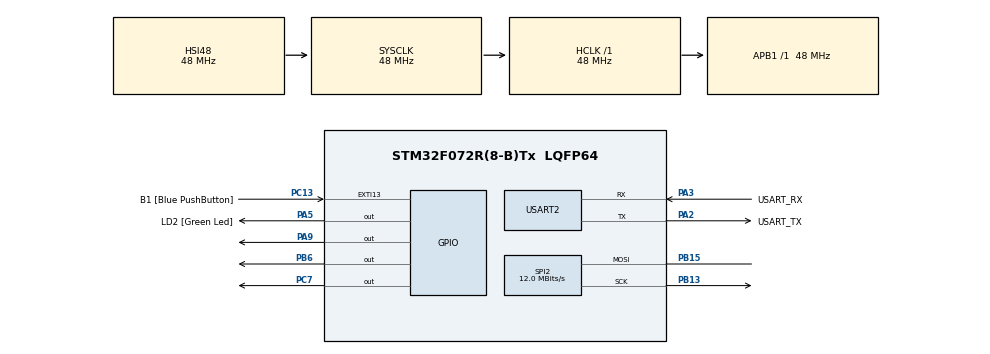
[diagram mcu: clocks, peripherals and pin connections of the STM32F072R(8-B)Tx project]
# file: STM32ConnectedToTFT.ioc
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Mcu.Family=STM32F0
Mcu.Name=STM32F072R(8-B)Tx
Mcu.Package=LQFP64
PA13.GPIO_Label=TMS
PA13.Mode=Serial_Wire
PA13.Signal=SYS_SWDIO
PA14.GPIO_Label=TCK
PA14.Mode=Serial_Wire
PA14.Signal=SYS_SWCLK
PA2.GPIO_Label=USART_TX
PA2.GPIO_Mode=GPIO_MODE_AF_PP
PA2.GPIO_PuPd=GPIO_NOPULL
PA2.GPIO_Speed=GPIO_SPEED_FREQ_LOW
PA2.Mode=Asynchronous
PA2.Signal=USART2_TX
PA3.GPIO_Label=USART_RX
PA3.GPIO_Mode=GPIO_MODE_AF_PP
PA3.GPIO_PuPd=GPIO_NOPULL
PA3.GPIO_Speed=GPIO_SPEED_FREQ_LOW
PA3.Mode=Asynchronous
PA3.Signal=USART2_RX
PA5.GPIO_Label=LD2 [Green Led]
PA5.GPIO_Mode=GPIO_MODE_OUTPUT_PP
PA5.GPIO_PuPd=GPIO_NOPULL
PA5.GPIO_Speed=GPIO_SPEED_FREQ_LOW
PA5.Signal=GPIO_Output
PA9.Signal=GPIO_Output
PB13.Mode=Simplex_Bidirectional_Master
PB13.Signal=SPI2_SCK
PB15.Mode=Simplex_Bidirectional_Master
PB15.Signal=SPI2_MOSI
PB6.Signal=GPIO_Output
PC13.GPIO_Label=B1 [Blue PushButton]
PC13.GPIO_ModeDefaultEXTI=GPIO_MODE_IT_FALLING
PC13.Signal=GPXTI13
PC14-OSC32_IN.Mode=LSE-External-Oscillator
PC14-OSC32_IN.Signal=RCC_OSC32_IN
PC15-OSC32_OUT.Mode=LSE-External-Oscillator
PC15-OSC32_OUT.Signal=RCC_OSC32_OUT
PC7.Signal=GPIO_Output
PF0-OSC_IN.Mode=HSE-External-Clock-Source
PF0-OSC_IN.Signal=RCC_OSC_IN
PF1-OSC_OUT.Signal=RCC_OSC_OUT
ProjectManager.HeapSize=0x200
ProjectManager.StackSize=0x400
ProjectManager.TargetToolchain=STM32CubeIDE
RCC.AHBFreq_Value=48000000
RCC.APB1Freq_Value=48000000
RCC.APB1TimFreq_Value=48000000
RCC.FLatency-AdvancedSettings=FLASH_LATENCY_1
RCC.HCLKFreq_Value=48000000
RCC.PLLDivider=RCC_PREDIV_DIV2
RCC.PLLMUL=RCC_PLL_MUL12
RCC.PREFETCH_ENABLE-AdvancedSettings=1
RCC.SYSCLKFreq_VALUE=48000000
RCC.SYSCLKSource=RCC_SYSCLKSOURCE_HSI48
SPI2.BaudRatePrescaler=SPI_BAUDRATEPRESCALER_4
SPI2.CalculateBaudRate=12.0 MBits/s
SPI2.DataSize=SPI_DATASIZE_8BIT
SPI2.Direction=SPI_DIRECTION_1LINE
SPI2.Mode=SPI_MODE_MASTER
SPI2.VirtualType=VM_MASTER
USART2.VirtualMode=VM_ASYNC
USART2.VirtualMode-Asynchronous=VM_ASYNC
board=NUCLEO-F072RB

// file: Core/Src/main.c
/* USER CODE BEGIN Header */
/**
  ******************************************************************************
  * @file           : main.c
  * @brief          : Main program body
  ******************************************************************************
  * @attention
  *
  * Copyright (c) 2024 STMicroelectronics.
  * All rights reserved.
  *
  * This software is licensed under terms that can be found in the LICENSE file
  * in the root directory of this software component.
  * If no LICENSE file comes with this software, it is provided AS-IS.
  *
  ******************************************************************************
  */
/* USER CODE END Header */
#include "main.h"

/* USER CODE BEGIN Includes */
#include "st7735.h"
#include "testimg.h"
#include "fonts.h"
/* USER CODE END Includes */

SPI_HandleTypeDef hspi2;

UART_HandleTypeDef huart2;

void SystemClock_Config(void);
static void MX_GPIO_Init(void);
static void MX_USART2_UART_Init(void);
static void MX_SPI2_Init(void);

int main(void)
{

  /* MCU Configuration--------------------------------------------------------*/

  /* Reset of all peripherals, Initializes the Flash interface and the Systick. */
  HAL_Init();

  /* Configure the system clock */
  SystemClock_Config();

  /* Initialize all configured peripherals */
  MX_GPIO_Init();
  MX_USART2_UART_Init();
  MX_SPI2_Init();
  /* USER CODE BEGIN 2 */

  ST7735_Init();
  ST7735_FillScreen(ST7735_BLUE);

  ///ST7735_WriteString(0, 80, "hello", Font_7x10, ST7735_WHITE, ST7735_BLACK);

  uint32_t counter=0;
  uint32_t LIMIT=40;
  uint16_t x=0;
  uint16_t y=40;
  uint8_t incr=0;

  /* USER CODE END 2 */

  /* Infinite loop */
  /* USER CODE BEGIN WHILE */
  while (1)
  {
    if (counter%LIMIT==0){
      HAL_GPIO_TogglePin(GPIOA, LD2_Pin);  // LED toggeln
    }

    if (incr==0){
      //ST7735_FillScreenFast(ST7735_BLUE);
      ST7735_WriteString(x-1, y-1, "hello", Font_7x10, ST7735_BLUE, ST7735_BLUE);
      ST7735_WriteString(x++, y++, "hello", Font_7x10, ST7735_WHITE, ST7735_BLUE);
    }else{
      ST7735_WriteString(x--, y--, "hello", Font_7x10, ST7735_WHITE, ST7735_BLUE);
    }

    if (counter>=LIMIT){
      counter=0;
      if (incr){
        incr=0;
      }else{
        incr=1;
      }
    }

    counter++;
    HAL_Delay(50);

    /* USER CODE END WHILE */

  }
}

void SystemClock_Config(void)
{
  RCC_OscInitTypeDef RCC_OscInitStruct = {0};
  RCC_ClkInitTypeDef RCC_ClkInitStruct = {0};
  RCC_PeriphCLKInitTypeDef PeriphClkInit = {0};

  /** Initializes the RCC Oscillators according to the specified parameters
  * in the RCC_OscInitTypeDef structure.
  */
  RCC_OscInitStruct.OscillatorType = RCC_OSCILLATORTYPE_HSI48;
  RCC_OscInitStruct.HSI48State = RCC_HSI48_ON;
  RCC_OscInitStruct.PLL.PLLState = RCC_PLL_NONE;
  if (HAL_RCC_OscConfig(&RCC_OscInitStruct) != HAL_OK)
  {
    Error_Handler();
  }

  /** Initializes the CPU, AHB and APB buses clocks
  */
  RCC_ClkInitStruct.ClockType = RCC_CLOCKTYPE_HCLK|RCC_CLOCKTYPE_SYSCLK
                              |RCC_CLOCKTYPE_PCLK1;
  RCC_ClkInitStruct.SYSCLKSource = RCC_SYSCLKSOURCE_HSI48;
  RCC_ClkInitStruct.AHBCLKDivider = RCC_SYSCLK_DIV1;
  RCC_ClkInitStruct.APB1CLKDivider = RCC_HCLK_DIV1;

  if (HAL_RCC_ClockConfig(&RCC_ClkInitStruct, FLASH_LATENCY_1) != HAL_OK)
  {
    Error_Handler();
  }
  PeriphClkInit.PeriphClockSelection = RCC_PERIPHCLK_USART2;
  PeriphClkInit.Usart2ClockSelection = RCC_USART2CLKSOURCE_PCLK1;
  if (HAL_RCCEx_PeriphCLKConfig(&PeriphClkInit) != HAL_OK)
  {
    Error_Handler();
  }
}

static void MX_SPI2_Init(void)
{

  /* SPI2 parameter configuration*/
  hspi2.Instance = SPI2;
  hspi2.Init.Mode = SPI_MODE_MASTER;
  hspi2.Init.Direction = SPI_DIRECTION_1LINE;
  hspi2.Init.DataSize = SPI_DATASIZE_8BIT;
  hspi2.Init.CLKPolarity = SPI_POLARITY_LOW;
  hspi2.Init.CLKPhase = SPI_PHASE_1EDGE;
  hspi2.Init.NSS = SPI_NSS_SOFT;
  hspi2.Init.BaudRatePrescaler = SPI_BAUDRATEPRESCALER_4;
  hspi2.Init.FirstBit = SPI_FIRSTBIT_MSB;
  hspi2.Init.TIMode = SPI_TIMODE_DISABLE;
  hspi2.Init.CRCCalculation = SPI_CRCCALCULATION_DISABLE;
  hspi2.Init.CRCPolynomial = 7;
  hspi2.Init.CRCLength = SPI_CRC_LENGTH_DATASIZE;
  hspi2.Init.NSSPMode = SPI_NSS_PULSE_ENABLE;
  if (HAL_SPI_Init(&hspi2) != HAL_OK)
  {
    Error_Handler();
  }

}

static void MX_USART2_UART_Init(void)
{

  huart2.Instance = USART2;
  huart2.Init.BaudRate = 38400;
  huart2.Init.WordLength = UART_WORDLENGTH_8B;
  huart2.Init.StopBits = UART_STOPBITS_1;
  huart2.Init.Parity = UART_PARITY_NONE;
  huart2.Init.Mode = UART_MODE_TX_RX;
  huart2.Init.HwFlowCtl = UART_HWCONTROL_NONE;
  huart2.Init.OverSampling = UART_OVERSAMPLING_16;
  huart2.Init.OneBitSampling = UART_ONE_BIT_SAMPLE_DISABLE;
  huart2.AdvancedInit.AdvFeatureInit = UART_ADVFEATURE_NO_INIT;
  if (HAL_UART_Init(&huart2) != HAL_OK)
  {
    Error_Handler();
  }

}

static void MX_GPIO_Init(void)
{
  GPIO_InitTypeDef GPIO_InitStruct = {0};

  /* GPIO Ports Clock Enable */
  __HAL_RCC_GPIOC_CLK_ENABLE();
  __HAL_RCC_GPIOF_CLK_ENABLE();
  __HAL_RCC_GPIOA_CLK_ENABLE();
  __HAL_RCC_GPIOB_CLK_ENABLE();

  /*Configure GPIO pin Output Level */
  HAL_GPIO_WritePin(GPIOA, LD2_Pin|GPIO_PIN_9, GPIO_PIN_RESET);

  /*Configure GPIO pin Output Level */
  HAL_GPIO_WritePin(GPIOC, GPIO_PIN_7, GPIO_PIN_RESET);

  /*Configure GPIO pin Output Level */
  HAL_GPIO_WritePin(GPIOB, GPIO_PIN_6, GPIO_PIN_RESET);

  /*Configure GPIO pin : B1_Pin */
  GPIO_InitStruct.Pin = B1_Pin;
  GPIO_InitStruct.Mode = GPIO_MODE_IT_FALLING;
  GPIO_InitStruct.Pull = GPIO_NOPULL;
  HAL_GPIO_Init(B1_GPIO_Port, &GPIO_InitStruct);

  /*Configure GPIO pins : LD2_Pin PA9 */
  GPIO_InitStruct.Pin = LD2_Pin|GPIO_PIN_9;
  GPIO_InitStruct.Mode = GPIO_MODE_OUTPUT_PP;
  GPIO_InitStruct.Pull = GPIO_NOPULL;
  GPIO_InitStruct.Speed = GPIO_SPEED_FREQ_LOW;
  HAL_GPIO_Init(GPIOA, &GPIO_InitStruct);

  /*Configure GPIO pin : PC7 */
  GPIO_InitStruct.Pin = GPIO_PIN_7;
  GPIO_InitStruct.Mode = GPIO_MODE_OUTPUT_PP;
  GPIO_InitStruct.Pull = GPIO_NOPULL;
  GPIO_InitStruct.Speed = GPIO_SPEED_FREQ_LOW;
  HAL_GPIO_Init(GPIOC, &GPIO_InitStruct);

  /*Configure GPIO pin : PB6 */
  GPIO_InitStruct.Pin = GPIO_PIN_6;
  GPIO_InitStruct.Mode = GPIO_MODE_OUTPUT_PP;
  GPIO_InitStruct.Pull = GPIO_NOPULL;
  GPIO_InitStruct.Speed = GPIO_SPEED_FREQ_LOW;
  HAL_GPIO_Init(GPIOB, &GPIO_InitStruct);

}

void Error_Handler(void)
{
  __disable_irq();
  while (1)
  {
  }
}
